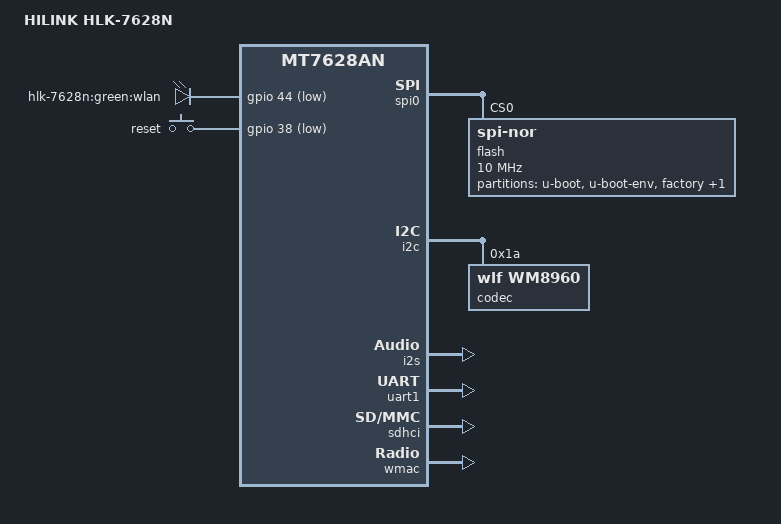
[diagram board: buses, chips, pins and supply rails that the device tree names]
// SPDX-License-Identifier: GPL-2.0-or-later OR MIT
/dts-v1/;

#include "mt7628an.dtsi"

#include <dt-bindings/gpio/gpio.h>
#include <dt-bindings/input/input.h>

/ {
	compatible = "hilink,hlk-7628n", "mediatek,mt7628an-soc";
	model = "HILINK HLK-7628N";

	chosen {
		bootargs = "console=ttyS0,57600";
	};

	leds {
		compatible = "gpio-leds";

		wlan {
			label = "hlk-7628n:green:wlan";
			gpios = <&gpio 44 GPIO_ACTIVE_LOW>;
		};
    // 3 more: WAN, USB, SD
	};

	keys {
		compatible = "gpio-keys";

		reset {
			label = "reset";
			gpios = <&gpio 38 GPIO_ACTIVE_LOW>;
			linux,code = <KEY_RESTART>;
		};
    // 2nd button is wdt-reset
	};

	sound {
		compatible = "simple-audio-card";
		simple-audio-card,name = "I2S Audio";
		simple-audio-card,format = "i2s";
		simple-audio-card,bitclock-master = <&dailink0_master>;
		simple-audio-card,frame-master = <&dailink0_master>;

		simple-audio-card,widgets =
			"Headphone", "Headphone Jack",
			"Speaker", "Speakers",
			"Microphone", "Microphone Jack",
			"Line", "Line In";

		simple-audio-card,routing =
			"Headphone Jack", "HP_L",
			"Headphone Jack", "HP_R",
			"Speakers", "SPK_LN",
			"Speakers", "SPK_LP",
			"Speakers", "SPK_RN",
			"Speakers", "SPK_RP",
			"LINPUT1", "Microphone Jack",
			"LINPUT2", "Line In",
			"RINPUT2", "Line In";

		simple-audio-card,cpu {
			sound-dai = <&i2s>;
		};

		dailink0_master: simple-audio-card,codec {
			sound-dai = <&codec>;
			system-clock-frequency = <12288000>;
		};
	};
};

&state_default {
	gpio {
    // TODO: should that not be "gpio" also?
		groups = "i2c";
		function = "gpio";
	};
};

&spi0 {
	status = "okay";

	flash@0 {
		compatible = "jedec,spi-nor";
		reg = <0>;
		spi-max-frequency = <10000000>;

		partitions {
			compatible = "fixed-partitions";
			#address-cells = <1>;
			#size-cells = <1>;

			partition@0 {
				label = "u-boot";
				reg = <0x0 0x30000>;
				read-only;
			};

			partition@30000 {
				label = "u-boot-env";
				reg = <0x30000 0x10000>;
				read-only;
			};

			factory: partition@40000 {
				label = "factory";
				reg = <0x40000 0x10000>;
				read-only;
			};

			partition@50000 {
				compatible = "denx,uimage";
				label = "firmware";
				reg = <0x50000 0x1fb0000>;
			};
		};
	};
};

&i2c {
	status = "okay";

	codec: wm8960@1a {
		#sound-dai-cells = <0>;
		compatible = "wlf,wm8960";
		reg = <0x1a>;

		wlf,shared-lrclk;
	};
};

&i2s {
	#sound-dai-cells = <0>;
	status = "okay";
	pinctrl-names = "default";
	pinctrl-0 = <&i2s_pins>;
};

&uart1 {
	status = "okay";
};

&ethernet {
	mtd-mac-address = <&factory 0x28>;
};

&sdhci {
	status = "okay";
	mediatek,cd-high;
};

&wmac {
	status = "okay";
};

&gdma {
	status = "okay";
};
